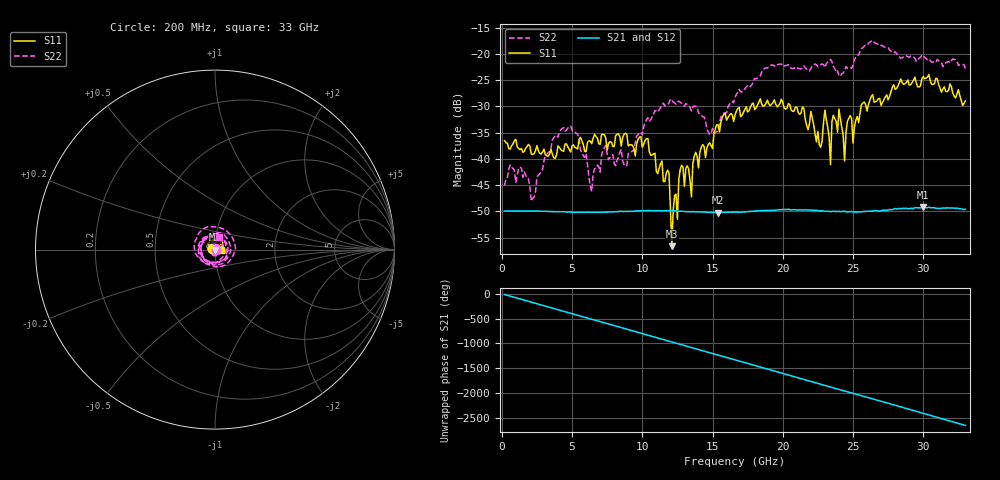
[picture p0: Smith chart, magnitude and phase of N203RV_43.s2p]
# GHZ S RI R 50
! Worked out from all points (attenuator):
!   329 points, 200 MHz to 33 GHz, reference 50 ohm
!   highest |S21| = -49.15 dB at 30 GHz (marker M1); lowest = -50.2 dB at 15.4 GHz (marker M2)
!   lowest |S11| = -56.6 dB at 12.1 GHz (marker M3), VSWR 1.00, Z = 49.9 - j0.0542 ohm
!   |S11| at or under -10 dB: start of sweep to end of sweep
!   |S22| runs from -48.1 to -17.4 dB; largest |S21 - S12| = 7.3e-05
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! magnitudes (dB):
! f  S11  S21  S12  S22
! 200 MHz  -36.5  -50.0  -49.9  -45.1
! 5.7 GHz  -36.5  -50.2  -50.2  -38.8
! 6.4 GHz  -37.1  -50.2  -50.2  -46.2
! 11.2 GHz  -41.8  -49.9  -49.9  -30.7
! 11.9 GHz  -42.6  -49.9  -49.9  -29.3
! 12.1 GHz  -56.6  -49.9  -49.8  -28.9
! 12.8 GHz  -41.2  -50.0  -49.9  -29.4
! 13.5 GHz  -47.2  -50.1  -50.1  -30.8
! 13.8 GHz  -38.8  -50.1  -50.1  -30.0
! 15.4 GHz  -33.6  -50.2  -50.2  -34.8
! 16.6 GHz  -31.6  -50.2  -50.2  -28.3
! 22.1 GHz  -32.3  -49.8  -49.7  -22.3
! 22.7 GHz  -37.8  -49.9  -49.9  -22.1
! 23 GHz  -30.7  -50.0  -50.0  -22.6
! 23.4 GHz  -41.1  -50.1  -50.0  -21.0
! 23.5 GHz  -32.8  -50.0  -50.0  -21.5
! 24 GHz  -30.5  -50.0  -50.0  -24.1
! 24.4 GHz  -40.4  -50.0  -49.9  -23.2
! 24.8 GHz  -31.7  -50.1  -50.1  -22.6
! 27.6 GHz  -28.1  -49.7  -49.7  -19.2
! 30 GHz  -24.3  -49.1  -49.2  -20.3
! 33 GHz  -29.0  -49.6  -49.6  -22.8
